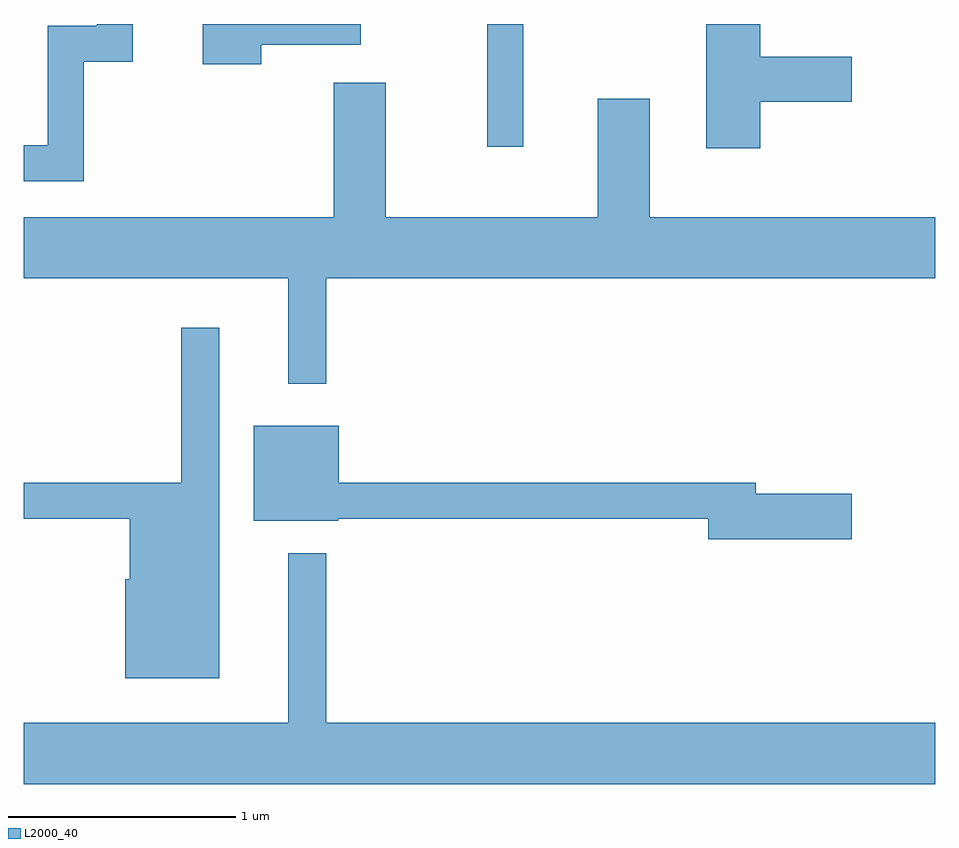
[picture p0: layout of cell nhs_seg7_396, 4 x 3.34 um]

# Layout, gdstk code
import gdstk
lib = gdstk.Library(unit=1e-6, precision=1e-09)
def R(c, l, rs):  # rectangles x0, y0, x1, y1
    for r in rs: c.add(gdstk.rectangle(r[:2], r[2:], *l))
def P(c, l, *ps):  # polygons
    for p in ps: c.add(gdstk.Polygon(p, *l))
L2000_40 = (2000, 40)

nhs_seg7_396 = lib.new_cell('nhs_seg7_396')
R(nhs_seg7_396, L2000_40, [(197.646,1783.713,197.804,1784.252)])
P(nhs_seg7_396, L2000_40, [(196.654,1784.161),(197.089,1784.161),(197.089,1784.252),(196.396,1784.252),(196.396,1784.076),(196.654,1784.076)],
  [(195.874,1784.086),(196.089,1784.086),(196.089,1784.252),(195.931,1784.252),(195.931,1784.244),(195.716,1784.244),(195.716,1783.719),(195.611,1783.719),(195.611,1783.561),(195.874,1783.561)],
  [(198.844,1783.911),(199.244,1783.911),(199.244,1784.109),(198.844,1784.109),(198.844,1784.252),(198.606,1784.252),(198.606,1783.706),(198.844,1783.706)],
  [(196.939,1783.136),(199.611,1783.136),(199.611,1783.404),(198.359,1783.404),(198.359,1783.924),(198.131,1783.924),(198.131,1783.404),(197.199,1783.404),(197.199,1783.994),(196.971,1783.994),(196.971,1783.404),(195.611,1783.404),(195.611,1783.136),(196.771,1783.136),(196.771,1782.673),(196.939,1782.673)],
  [(196.469,1782.918),(196.301,1782.918),(196.301,1782.239),(195.611,1782.239),(195.611,1782.081),(196.076,1782.081),(196.076,1781.814),(196.056,1781.814),(196.056,1781.381),(196.469,1781.381)],
  [(199.244,1782.189),(198.824,1782.189),(198.824,1782.239),(196.994,1782.239),(196.994,1782.489),(196.621,1782.489),(196.621,1782.071),(196.99,1782.071),(196.99,1782.081),(198.616,1782.081),(198.616,1781.991),(199.244,1781.991)],
  [(199.611,1781.184),(196.939,1781.184),(196.939,1781.928),(196.771,1781.928),(196.771,1781.184),(195.611,1781.184),(195.611,1780.916),(199.611,1780.916)])

lib.write_gds('nhs_seg7_396.gds')
